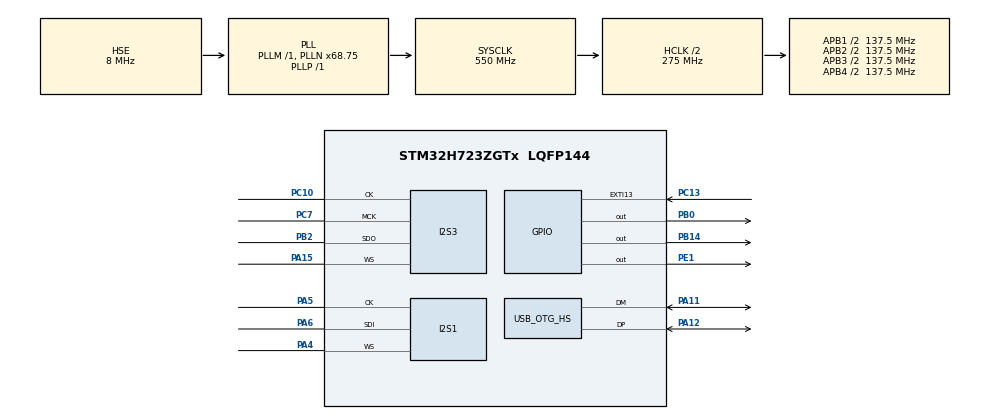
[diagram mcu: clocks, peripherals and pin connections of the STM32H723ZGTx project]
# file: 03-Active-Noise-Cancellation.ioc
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CORTEX_M7.default_mode_Activation=1
Dma.Request0=SPI1_RX
Dma.Request1=SPI3_TX
Dma.SPI1_RX.0.Direction=DMA_PERIPH_TO_MEMORY
Dma.SPI1_RX.0.EventEnable=DISABLE
Dma.SPI1_RX.0.FIFOMode=DMA_FIFOMODE_DISABLE
Dma.SPI1_RX.0.Instance=DMA1_Stream0
Dma.SPI1_RX.0.MemDataAlignment=DMA_MDATAALIGN_WORD
Dma.SPI1_RX.0.MemInc=DMA_MINC_ENABLE
Dma.SPI1_RX.0.Mode=DMA_CIRCULAR
Dma.SPI1_RX.0.PeriphDataAlignment=DMA_PDATAALIGN_WORD
Dma.SPI1_RX.0.PeriphInc=DMA_PINC_DISABLE
Dma.SPI1_RX.0.Polarity=HAL_DMAMUX_REQ_GEN_RISING
Dma.SPI1_RX.0.Priority=DMA_PRIORITY_HIGH
Dma.SPI1_RX.0.RequestNumber=1
Dma.SPI1_RX.0.SignalID=NONE
Dma.SPI1_RX.0.SyncEnable=DISABLE
Dma.SPI1_RX.0.SyncPolarity=HAL_DMAMUX_SYNC_NO_EVENT
Dma.SPI1_RX.0.SyncRequestNumber=1
Dma.SPI1_RX.0.SyncSignalID=NONE
Dma.SPI3_TX.1.Direction=DMA_MEMORY_TO_PERIPH
Dma.SPI3_TX.1.EventEnable=DISABLE
Dma.SPI3_TX.1.FIFOMode=DMA_FIFOMODE_DISABLE
Dma.SPI3_TX.1.Instance=DMA1_Stream1
Dma.SPI3_TX.1.MemDataAlignment=DMA_MDATAALIGN_WORD
Dma.SPI3_TX.1.MemInc=DMA_MINC_ENABLE
Dma.SPI3_TX.1.Mode=DMA_CIRCULAR
Dma.SPI3_TX.1.PeriphDataAlignment=DMA_PDATAALIGN_WORD
Dma.SPI3_TX.1.PeriphInc=DMA_PINC_DISABLE
Dma.SPI3_TX.1.Polarity=HAL_DMAMUX_REQ_GEN_RISING
Dma.SPI3_TX.1.Priority=DMA_PRIORITY_HIGH
Dma.SPI3_TX.1.RequestNumber=1
Dma.SPI3_TX.1.SignalID=NONE
Dma.SPI3_TX.1.SyncEnable=DISABLE
Dma.SPI3_TX.1.SyncPolarity=HAL_DMAMUX_SYNC_NO_EVENT
Dma.SPI3_TX.1.SyncRequestNumber=1
Dma.SPI3_TX.1.SyncSignalID=NONE
I2S1.AudioFreq=I2S_AUDIOFREQ_48K
I2S1.Data24BitAlignment=I2S_DATA_24BIT_ALIGNMENT_LEFT
I2S1.DataFormat=I2S_DATAFORMAT_24B
I2S1.ErrorAudioFreq=-0.53 %
I2S1.Instance=SPI$Index
I2S1.RealAudioFreq=47.743 KHz
I2S3.AudioFreq=I2S_AUDIOFREQ_48K
I2S3.Data24BitAlignment=I2S_DATA_24BIT_ALIGNMENT_LEFT
I2S3.DataFormat=I2S_DATAFORMAT_24B
I2S3.ErrorAudioFreq=-0.53 %
I2S3.Instance=SPI$Index
I2S3.RealAudioFreq=47.743 KHz
Mcu.Family=STM32H7
Mcu.Name=STM32H723ZGTx
Mcu.Package=LQFP144
NUCLEO-H723ZG.BUTTON=1
NUCLEO-H723ZG.LD1=true
NUCLEO-H723ZG.LD2=true
NUCLEO-H723ZG.LD3=true
NUCLEO-H723ZG.VCP=true
NVIC.DMA1_Stream0_IRQn=true\:0\:0\:false\:false\:true\:false\:true\:true
NVIC.DMA1_Stream1_IRQn=true\:0\:0\:false\:false\:true\:false\:true\:true
NVIC.EXTI15_10_IRQn=true\:0\:0\:false\:false\:true\:false\:true\:true
NVIC.OTG_HS_IRQn=true\:0\:0\:false\:false\:true\:false\:true\:true
NVIC.PriorityGroup=NVIC_PRIORITYGROUP_4
PA11.Mode=Device_Only_FS
PA11.Signal=USB_OTG_HS_DM
PA12.Mode=Device_Only_FS
PA12.Signal=USB_OTG_HS_DP
PA13(JTMS/SWDIO).GPIO_Label=SWDIO
PA13(JTMS/SWDIO).Signal=DEBUG_JTMS-SWDIO
PA14(JTCK/SWCLK).GPIO_Label=SWCLK
PA14(JTCK/SWCLK).Signal=DEBUG_JTCK-SWCLK
PA15(JTDI).Mode=Half_Duplex_Master_Tx
PA15(JTDI).Signal=I2S3_WS
PA4.Mode=Half_Duplex_Master_Rx
PA4.Signal=I2S1_WS
PA5.Mode=Half_Duplex_Master_Rx
PA5.Signal=I2S1_CK
PA6.Mode=Half_Duplex_Master_Rx
PA6.Signal=I2S1_SDI
PB0.Signal=GPIO_Output
PB14.Signal=GPIO_Output
PB2.Mode=Half_Duplex_Master_Tx
PB2.Signal=I2S3_SDO
PC10.Mode=Half_Duplex_Master_Tx
PC10.Signal=I2S3_CK
PC13.Signal=GPXTI13
PC14-OSC32_IN.Signal=RCC_OSC32_IN
PC15-OSC32_OUT.Signal=RCC_OSC32_OUT
PC7.Mode=Master_Clock_Activated
PC7.Signal=I2S3_MCK
PD8.Signal=USART3_TX
PD9.Signal=USART3_RX
PE1.Signal=GPIO_Output
PH0-OSC_IN.Mode=HSE-External-Oscillator
PH0-OSC_IN.Signal=RCC_OSC_IN
PH1-OSC_OUT.Mode=HSE-External-Oscillator
PH1-OSC_OUT.Signal=RCC_OSC_OUT
ProjectManager.HeapSize=0x200
ProjectManager.StackSize=0x400
ProjectManager.TargetToolchain=STM32CubeIDE
RCC.ADCFreq_Value=76000000
RCC.APB1Freq_Value=137500000
RCC.APB2Freq_Value=137500000
RCC.APB3Freq_Value=137500000
RCC.APB4Freq_Value=137500000
RCC.CortexFreq_Value=550000000
RCC.D1PPRE=RCC_APB3_DIV2
RCC.D2PPRE1=RCC_APB1_DIV2
RCC.D2PPRE2=RCC_APB2_DIV2
RCC.D3PPRE=RCC_APB4_DIV2
RCC.DIVM1=1
RCC.DIVM2=1
RCC.DIVN1=68
RCC.DIVN2=19
RCC.DIVP1=1
RCC.DIVQ1=3
RCC.HCLKFreq_Value=275000000
RCC.HPRE=RCC_HCLK_DIV2
RCC.HSE_VALUE=8000000
RCC.PLLFRACN=6144
RCC.PLLSourceVirtual=RCC_PLLSOURCE_HSE
RCC.SYSCLKFreq_VALUE=550000000
RCC.SYSCLKSource=RCC_SYSCLKSOURCE_PLLCLK
RCC.USBCLockSelection=RCC_USBCLKSOURCE_HSI48
RCC.USBFreq_Value=48000000
STMicroelectronics.X-CUBE-ALGOBUILD.1.4.0.LibraryCcDSPOoLibraryJjDSPOoLibrary=true
USB_DEVICE.CLASS_NAME_HS=CDC
USB_DEVICE.VirtualMode=Cdc
USB_DEVICE.VirtualModeHS=Cdc_HS
USB_OTG_HS.VirtualMode-Device_Only_FS=Device_Only_FS
VP_MEMORYMAP_VS_MEMORYMAP.Mode=CurAppReg
VP_NUCLEO-H723ZG_VS_BSP_COMMON.Mode=COMMON
VP_STMicroelectronics.X-CUBE-ALGOBUILD_VS_DSPOoLibraryJjLibrary_1.4.0_1.4.0.Mode=DSPOoLibraryJjLibrary
VP_USB_DEVICE_VS_USB_DEVICE_CDC_HS.Mode=CDC_HS
board=NUCLEO-H723ZG

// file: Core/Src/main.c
/* USER CODE BEGIN Header */
/**
 * @file           : main.c
 * @brief          : Audio Processing (Mic -> USB & DAC) + FFT Frequency Detection
 * Version: 2.0 (Intelligence Module Added - Modular)
 ******************************************************************************
 */
/* USER CODE END Header */
#include "main.h"
#include "usb_device.h"

/* USER CODE BEGIN Includes */
#include "usbd_cdc_if.h"
#include "arm_math.h"
#include <math.h>
#include <stdio.h> // printf için gerekli

// --- MODÜLER HEADER DOSYALARI ---
#include "anc_config.h"
#include "anc_dsp_utils.h"
#include "anc_analysis.h"
#include "anc_core.h"
/* USER CODE END Includes */

/* USER CODE BEGIN PD */
// Tüm ayarlar anc_config.h dosyasına taşındı.
/* USER CODE END PD */

COM_InitTypeDef BspCOMInit;

I2S_HandleTypeDef hi2s1;
I2S_HandleTypeDef hi2s3;
DMA_HandleTypeDef hdma_spi1_rx;
DMA_HandleTypeDef hdma_spi3_tx;

/* USER CODE BEGIN PV */
// USB Paketi (İleride gerekirse diye kalsın)
typedef struct __attribute__((packed)) {
    uint16_t sof;
    float samples[NUM_SAMPLES];
    uint8_t eof;
} usb_packet_t;
usb_packet_t usb_packet __attribute__((aligned(4)));
/* USER CODE END PV */

void SystemClock_Config(void);
static void MPU_Config(void);
static void MX_GPIO_Init(void);
static void MX_DMA_Init(void);
static void MX_I2S1_Init(void);
static void MX_I2S3_Init(void);
/* USER CODE BEGIN PFP */
// audio_init() kaldırıldı, yerine modüler initler geldi.
/* USER CODE END PFP */

/* USER CODE BEGIN 0 */
/* SWV (Serial Wire Viewer) ile printf kullanımı için gerekli fonksiyon */
int _write(int file, char *ptr, int len)
{
  int i=0;
  for(i=0 ; i<len ; i++)
    ITM_SendChar((*ptr++));
  return len;
}
/* USER CODE END 0 */

int main(void)
{

  /* MPU Configuration--------------------------------------------------------*/
  MPU_Config();

  /* MCU Configuration--------------------------------------------------------*/

  /* Reset of all peripherals, Initializes the Flash interface and the Systick. */
  HAL_Init();

  /* Configure the system clock */
  SystemClock_Config();

  /* Initialize all configured peripherals */
  MX_GPIO_Init();
  MX_DMA_Init();
  MX_I2S1_Init();
  MX_USB_DEVICE_Init();
  MX_I2S3_Init();
  /* USER CODE BEGIN 2 */
  // --- MODÜLER SİSTEM BAŞLATMA ---
  ANC_DSP_Init();       // Yardımcı araçları sıfırla
  ANC_Analysis_Init();  // FFT motorunu hazırla
  ANC_Core_Init();      // Ses motorunu ve Haritayı hazırla

  // --- DMA BAŞLATMA ---
  // Buffer adresleri artık anc_core.h üzerinden extern geliyor
  if (HAL_I2S_Receive_DMA(&hi2s1, (uint16_t*)i2s_rx_buffer, I2S_BUFFER_SIZE) != HAL_OK)
  {
      Error_Handler();
  }

  // TX Buffer'ı güvenli bir şekilde sıfırla
  for(int i=0; i < I2S_BUFFER_SIZE; i++) i2s_tx_buffer[i] = 0;

  if (HAL_I2S_Transmit_DMA(&hi2s3, (uint16_t*)i2s_tx_buffer, I2S_BUFFER_SIZE) != HAL_OK)
  {
      Error_Handler();
  }

  /* USER CODE END 2 */

  /* Initialize leds */
  BSP_LED_Init(LED_GREEN);
  BSP_LED_Init(LED_YELLOW);
  BSP_LED_Init(LED_RED);

  /* Initialize USER push-button, will be used to trigger an interrupt each time it's pressed.*/
  BSP_PB_Init(BUTTON_USER, BUTTON_MODE_EXTI);

  /* Initialize COM1 port (115200, 8 bits (7-bit data + 1 stop bit), no parity */
  BspCOMInit.BaudRate   = 115200;
  BspCOMInit.WordLength = COM_WORDLENGTH_8B;
  BspCOMInit.StopBits   = COM_STOPBITS_1;
  BspCOMInit.Parity     = COM_PARITY_NONE;
  BspCOMInit.HwFlowCtl  = COM_HWCONTROL_NONE;
  if (BSP_COM_Init(COM1, &BspCOMInit) != BSP_ERROR_NONE)
  {
    Error_Handler();
  }

  /* Infinite loop */
  while (1)
  {

    /* USER CODE BEGIN 3 */
      // --- ANA DÖNGÜ YÖNETİCİSİ ---
      // Tüm zamanlama, kalibrasyon ve ses işleme burada yönetilir.
      ANC_Cycle_Handler();
  }
  /* USER CODE END 3 */
}

void SystemClock_Config(void)
{
  RCC_OscInitTypeDef RCC_OscInitStruct = {0};
  RCC_ClkInitTypeDef RCC_ClkInitStruct = {0};

  /** Supply configuration update enable
  */
  HAL_PWREx_ConfigSupply(PWR_LDO_SUPPLY);

  /** Configure the main internal regulator output voltage
  */
  __HAL_PWR_VOLTAGESCALING_CONFIG(PWR_REGULATOR_VOLTAGE_SCALE0);

  while(!__HAL_PWR_GET_FLAG(PWR_FLAG_VOSRDY)) {}

  /** Initializes the RCC Oscillators according to the specified parameters
  * in the RCC_OscInitTypeDef structure.
  */
  RCC_OscInitStruct.OscillatorType = RCC_OSCILLATORTYPE_HSI48|RCC_OSCILLATORTYPE_HSE;
  RCC_OscInitStruct.HSEState = RCC_HSE_ON;
  RCC_OscInitStruct.HSI48State = RCC_HSI48_ON;
  RCC_OscInitStruct.PLL.PLLState = RCC_PLL_ON;
  RCC_OscInitStruct.PLL.PLLSource = RCC_PLLSOURCE_HSE;
  RCC_OscInitStruct.PLL.PLLM = 1;
  RCC_OscInitStruct.PLL.PLLN = 68;
  RCC_OscInitStruct.PLL.PLLP = 1;
  RCC_OscInitStruct.PLL.PLLQ = 3;
  RCC_OscInitStruct.PLL.PLLR = 2;
  RCC_OscInitStruct.PLL.PLLRGE = RCC_PLL1VCIRANGE_3;
  RCC_OscInitStruct.PLL.PLLVCOSEL = RCC_PLL1VCOWIDE;
  RCC_OscInitStruct.PLL.PLLFRACN = 6144;
  if (HAL_RCC_OscConfig(&RCC_OscInitStruct) != HAL_OK)
  {
    Error_Handler();
  }

  /** Initializes the CPU, AHB and APB buses clocks
  */
  RCC_ClkInitStruct.ClockType = RCC_CLOCKTYPE_HCLK|RCC_CLOCKTYPE_SYSCLK
                              |RCC_CLOCKTYPE_PCLK1|RCC_CLOCKTYPE_PCLK2
                              |RCC_CLOCKTYPE_D3PCLK1|RCC_CLOCKTYPE_D1PCLK1;
  RCC_ClkInitStruct.SYSCLKSource = RCC_SYSCLKSOURCE_PLLCLK;
  RCC_ClkInitStruct.SYSCLKDivider = RCC_SYSCLK_DIV1;
  RCC_ClkInitStruct.AHBCLKDivider = RCC_HCLK_DIV2;
  RCC_ClkInitStruct.APB3CLKDivider = RCC_APB3_DIV2;
  RCC_ClkInitStruct.APB1CLKDivider = RCC_APB1_DIV2;
  RCC_ClkInitStruct.APB2CLKDivider = RCC_APB2_DIV2;
  RCC_ClkInitStruct.APB4CLKDivider = RCC_APB4_DIV2;

  if (HAL_RCC_ClockConfig(&RCC_ClkInitStruct, FLASH_LATENCY_3) != HAL_OK)
  {
    Error_Handler();
  }
}

static void MX_I2S1_Init(void)
{

  hi2s1.Instance = SPI1;
  hi2s1.Init.Mode = I2S_MODE_MASTER_RX;
  hi2s1.Init.Standard = I2S_STANDARD_PHILIPS;
  hi2s1.Init.DataFormat = I2S_DATAFORMAT_24B;
  hi2s1.Init.MCLKOutput = I2S_MCLKOUTPUT_DISABLE;
  hi2s1.Init.AudioFreq = I2S_AUDIOFREQ_48K;
  hi2s1.Init.CPOL = I2S_CPOL_LOW;
  hi2s1.Init.FirstBit = I2S_FIRSTBIT_MSB;
  hi2s1.Init.WSInversion = I2S_WS_INVERSION_DISABLE;
  hi2s1.Init.Data24BitAlignment = I2S_DATA_24BIT_ALIGNMENT_LEFT;
  hi2s1.Init.MasterKeepIOState = I2S_MASTER_KEEP_IO_STATE_DISABLE;
  if (HAL_I2S_Init(&hi2s1) != HAL_OK)
  {
    Error_Handler();
  }

}

static void MX_I2S3_Init(void)
{

  hi2s3.Instance = SPI3;
  hi2s3.Init.Mode = I2S_MODE_MASTER_TX;
  hi2s3.Init.Standard = I2S_STANDARD_PHILIPS;
  hi2s3.Init.DataFormat = I2S_DATAFORMAT_24B;
  hi2s3.Init.MCLKOutput = I2S_MCLKOUTPUT_ENABLE;
  hi2s3.Init.AudioFreq = I2S_AUDIOFREQ_48K;
  hi2s3.Init.CPOL = I2S_CPOL_LOW;
  hi2s3.Init.FirstBit = I2S_FIRSTBIT_MSB;
  hi2s3.Init.WSInversion = I2S_WS_INVERSION_DISABLE;
  hi2s3.Init.Data24BitAlignment = I2S_DATA_24BIT_ALIGNMENT_LEFT;
  hi2s3.Init.MasterKeepIOState = I2S_MASTER_KEEP_IO_STATE_DISABLE;
  if (HAL_I2S_Init(&hi2s3) != HAL_OK)
  {
    Error_Handler();
  }

}

static void MX_DMA_Init(void)
{

  /* DMA controller clock enable */
  __HAL_RCC_DMA1_CLK_ENABLE();

  /* DMA interrupt init */
  /* DMA1_Stream0_IRQn interrupt configuration */
  HAL_NVIC_SetPriority(DMA1_Stream0_IRQn, 0, 0);
  HAL_NVIC_EnableIRQ(DMA1_Stream0_IRQn);
  /* DMA1_Stream1_IRQn interrupt configuration */
  HAL_NVIC_SetPriority(DMA1_Stream1_IRQn, 0, 0);
  HAL_NVIC_EnableIRQ(DMA1_Stream1_IRQn);

}

static void MX_GPIO_Init(void)
{
  GPIO_InitTypeDef GPIO_InitStruct = {0};

  /* GPIO Ports Clock Enable */
  __HAL_RCC_GPIOC_CLK_ENABLE();
  __HAL_RCC_GPIOH_CLK_ENABLE();
  __HAL_RCC_GPIOA_CLK_ENABLE();
  __HAL_RCC_GPIOB_CLK_ENABLE();
  __HAL_RCC_GPIOD_CLK_ENABLE();
  __HAL_RCC_GPIOE_CLK_ENABLE();

  /*Configure GPIO pin Output Level */
  HAL_GPIO_WritePin(GPIOB, GPIO_PIN_0|GPIO_PIN_14, GPIO_PIN_RESET);

  /*Configure GPIO pin Output Level */
  HAL_GPIO_WritePin(GPIOE, GPIO_PIN_1, GPIO_PIN_RESET);

  /*Configure GPIO pin : PC13 */
  GPIO_InitStruct.Pin = GPIO_PIN_13;
  GPIO_InitStruct.Mode = GPIO_MODE_INPUT;
  GPIO_InitStruct.Pull = GPIO_NOPULL;
  HAL_GPIO_Init(GPIOC, &GPIO_InitStruct);

  /*Configure GPIO pins : PB0 PB14 */
  GPIO_InitStruct.Pin = GPIO_PIN_0|GPIO_PIN_14;
  GPIO_InitStruct.Mode = GPIO_MODE_OUTPUT_PP;
  GPIO_InitStruct.Pull = GPIO_NOPULL;
  GPIO_InitStruct.Speed = GPIO_SPEED_FREQ_LOW;
  HAL_GPIO_Init(GPIOB, &GPIO_InitStruct);

  /*Configure GPIO pins : PD8 PD9 */
  GPIO_InitStruct.Pin = GPIO_PIN_8|GPIO_PIN_9;
  GPIO_InitStruct.Mode = GPIO_MODE_AF_PP;
  GPIO_InitStruct.Pull = GPIO_NOPULL;
  GPIO_InitStruct.Speed = GPIO_SPEED_FREQ_LOW;
  GPIO_InitStruct.Alternate = GPIO_AF7_USART3;
  HAL_GPIO_Init(GPIOD, &GPIO_InitStruct);

  /*Configure GPIO pin : PE1 */
  GPIO_InitStruct.Pin = GPIO_PIN_1;
  GPIO_InitStruct.Mode = GPIO_MODE_OUTPUT_PP;
  GPIO_InitStruct.Pull = GPIO_NOPULL;
  GPIO_InitStruct.Speed = GPIO_SPEED_FREQ_LOW;
  HAL_GPIO_Init(GPIOE, &GPIO_InitStruct);

}

/* USER CODE BEGIN 4 */
// --- DMA CALLBACK FONKSİYONLARI ---
// Bu fonksiyonlar HAL kütüphanesi tarafından otomatik çağrılır.
// anc_core.h içinde "active_buffer" extern olduğu için buradan erişilebilir.

void HAL_I2S_RxHalfCpltCallback(I2S_HandleTypeDef *hi2s)
{
    // Sadece Mikrofondan (RX) gelen kesmeleri takip ediyoruz
    if (hi2s->Instance == SPI1)
    {
        if (active_buffer == NULL)
        {
            active_buffer = i2s_rx_buffer; // İlk Yarı
        }
    }
}

void HAL_I2S_RxCpltCallback(I2S_HandleTypeDef *hi2s)
{
    if (hi2s->Instance == SPI1)
    {
        if (active_buffer == NULL)
        {
            // İkinci Yarı (Buffer boyutunun yarısı kadar ileri git)
            active_buffer = &i2s_rx_buffer[I2S_BUFFER_SIZE / 2];
        }
    }
}
/* USER CODE END 4 */

 /* MPU Configuration */

void MPU_Config(void)
{
  MPU_Region_InitTypeDef MPU_InitStruct = {0};

  /* Disables the MPU */
  HAL_MPU_Disable();

  /** Initializes and configures the Region and the memory to be protected
  */
  MPU_InitStruct.Enable = MPU_REGION_ENABLE;
  MPU_InitStruct.Number = MPU_REGION_NUMBER0;
  MPU_InitStruct.BaseAddress = 0x0;
  MPU_InitStruct.Size = MPU_REGION_SIZE_4GB;
  MPU_InitStruct.SubRegionDisable = 0x87;
  MPU_InitStruct.TypeExtField = MPU_TEX_LEVEL0;
  MPU_InitStruct.AccessPermission = MPU_REGION_NO_ACCESS;
  MPU_InitStruct.DisableExec = MPU_INSTRUCTION_ACCESS_DISABLE;
  MPU_InitStruct.IsShareable = MPU_ACCESS_SHAREABLE;
  MPU_InitStruct.IsCacheable = MPU_ACCESS_NOT_CACHEABLE;
  MPU_InitStruct.IsBufferable = MPU_ACCESS_NOT_BUFFERABLE;

  HAL_MPU_ConfigRegion(&MPU_InitStruct);
  /* Enables the MPU */
  HAL_MPU_Enable(MPU_PRIVILEGED_DEFAULT);

}

void Error_Handler(void)
{
  __disable_irq();
  while (1)
  {
  }
}
